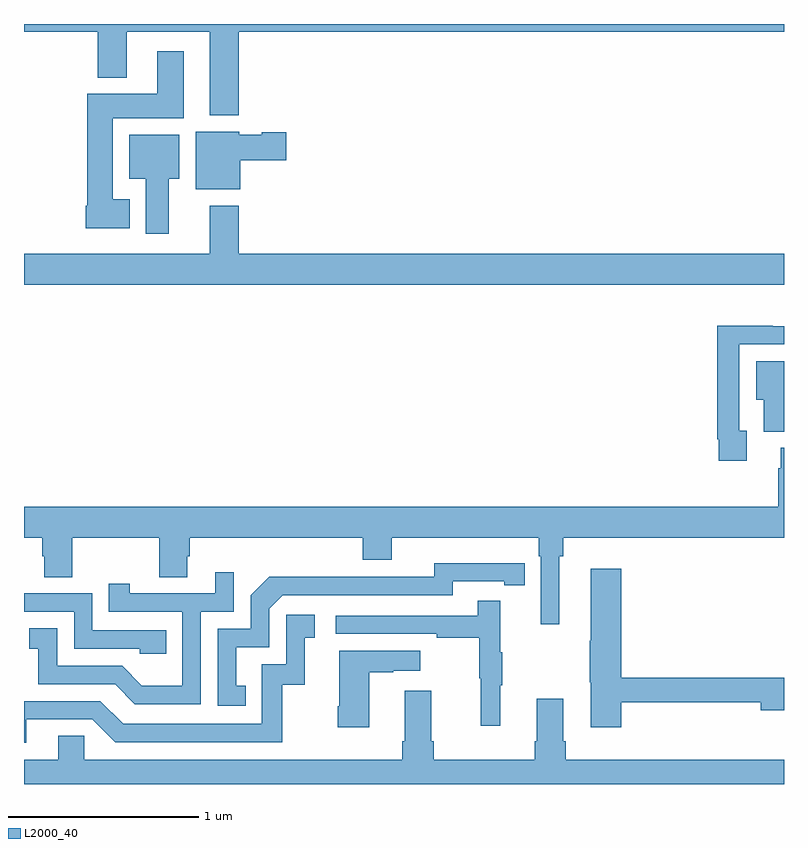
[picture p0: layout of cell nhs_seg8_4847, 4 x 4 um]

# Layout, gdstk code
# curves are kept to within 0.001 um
import gdstk
lib = gdstk.Library(unit=1e-6, precision=1e-09)
def P(c, l, *ps):  # polygons
    for p in ps: c.add(gdstk.Polygon(p, *l))
L2000_40 = (2000, 40)

nhs_seg8_4847 = lib.new_cell('nhs_seg8_4847')
P(nhs_seg8_4847, L2000_40, [(406.13,1089.86),(409,1089.86),(409,1089.9),(405,1089.9),(405,1089.86),(405.389,1089.86),(405.389,1089.617),(405.541,1089.617),(405.541,1089.86),(405.977,1089.86),(405.977,1089.419),(406.13,1089.419)],
  [(405.556,1088.977),(405.466,1088.977),(405.466,1089.404),(405.841,1089.404),(405.841,1089.757),(405.701,1089.757),(405.701,1089.532),(405.332,1089.532),(405.332,1088.943),(405.326,1088.943),(405.326,1088.825),(405.556,1088.825)],
  [(406.138,1089.182),(406.381,1089.182),(406.381,1089.329),(406.251,1089.329),(406.251,1089.316),(406.134,1089.316),(406.134,1089.334),(405.905,1089.334),(405.905,1089.029),(406.138,1089.029)],
  [(405.763,1089.086),(405.817,1089.086),(405.817,1089.316),(405.554,1089.316),(405.554,1089.086),(405.641,1089.086),(405.641,1088.796),(405.763,1088.796)],
  [(409,1088.692),(406.13,1088.692),(406.13,1088.944),(405.977,1088.944),(405.977,1088.692),(405,1088.692),(405,1088.528),(409,1088.528)],
  [(408.805,1087.758),(408.765,1087.758),(408.765,1088.214),(409,1088.214),(409,1088.31),(408.941,1088.31),(408.941,1088.312),(408.649,1088.312),(408.649,1087.714),(408.657,1087.714),(408.657,1087.602),(408.805,1087.602)],
  [(409,1088.125),(408.854,1088.125),(408.854,1087.922),(408.893,1087.922),(408.893,1087.754),(409,1087.754)],
  [(407.818,1087.1),(407.837,1087.1),(407.837,1087.196),(409,1087.196),(409,1087.669),(408.983,1087.669),(408.983,1087.562),(408.971,1087.562),(408.971,1087.36),(405,1087.36),(405,1087.196),(405.095,1087.196),(405.095,1087.098),(405.107,1087.098),(405.107,1086.988),(405.255,1086.988),(405.255,1087.196),(405.712,1087.196),(405.712,1086.988),(405.859,1086.988),(405.859,1087.098),(405.872,1087.098),(405.872,1087.196),(406.784,1087.196),(406.784,1087.079),(406.936,1087.079),(406.936,1087.196),(407.708,1087.196),(407.708,1087.1),(407.721,1087.1),(407.721,1086.741),(407.818,1086.741)],
  [(406.166,1086.417),(406.117,1086.417),(406.117,1086.621),(406.29,1086.621),(406.29,1086.822),(406.362,1086.894),(407.256,1086.894),(407.256,1086.966),(407.528,1086.966),(407.528,1086.946),(407.636,1086.946),(407.636,1087.062),(407.16,1087.063),(407.16,1086.99),(406.7,1086.99),(406.7,1086.992),(406.292,1086.992),(406.194,1086.894),(406.194,1086.717),(406.02,1086.717),(406.02,1086.312),(406.166,1086.312)],
  [(408.143,1086.33),(408.878,1086.33),(408.878,1086.287),(409,1086.287),(409,1086.458),(408.143,1086.458),(408.143,1087.033),(407.984,1087.033),(407.984,1086.653),(407.977,1086.653),(407.977,1086.435),(407.984,1086.435),(407.984,1086.198),(408.143,1086.198)],
  [(405.93,1086.807),(406.104,1086.807),(406.104,1087.015),(406.007,1087.015),(406.007,1086.903),(405.556,1086.903),(405.556,1086.955),(405.445,1086.955),(405.445,1086.807),(405.834,1086.807),(405.834,1086.418),(405.62,1086.418),(405.516,1086.522),(405.174,1086.522),(405.174,1086.721),(405.027,1086.721),(405.027,1086.611),(405.076,1086.611),(405.076,1086.426),(405.479,1086.426),(405.584,1086.321),(405.93,1086.321)],
  [(405.749,1086.708),(405.36,1086.708),(405.36,1086.903),(405,1086.903),(405,1086.807),(405.264,1086.807),(405.264,1086.612),(405.609,1086.612),(405.609,1086.585),(405.749,1086.585)],
  [(407.507,1086.419),(407.518,1086.419),(407.518,1086.593),(407.507,1086.593),(407.507,1086.865),(407.389,1086.865),(407.389,1086.786),(406.641,1086.786),(406.641,1086.69),(407.173,1086.69),(407.173,1086.67),(407.397,1086.67),(407.397,1086.456),(407.404,1086.456),(407.404,1086.207),(407.507,1086.207)],
  [(405.013,1086.24),(405.36,1086.24),(405.48,1086.12),(406.36,1086.12),(406.36,1086.423),(406.478,1086.423),(406.478,1086.669),(406.531,1086.669),(406.531,1086.79),(406.38,1086.79),(406.38,1086.531),(406.251,1086.531),(406.251,1086.216),(405.522,1086.216),(405.402,1086.336),(405,1086.336),(405,1086.117),(405.013,1086.117)],
  [(406.816,1086.487),(406.943,1086.487),(406.943,1086.497),(407.086,1086.497),(407.086,1086.601),(406.658,1086.601),(406.658,1086.31),(406.651,1086.31),(406.651,1086.198),(406.816,1086.198)],
  [(407.699,1086.349),(407.699,1086.124),(407.687,1086.124),(407.687,1086.028),(407.156,1086.028),(407.156,1086.124),(407.143,1086.124),(407.143,1086.391),(407.003,1086.391),(407.003,1086.124),(406.991,1086.124),(406.991,1086.028),(405.318,1086.028),(405.318,1086.155),(405.179,1086.155),(405.179,1086.028),(405,1086.028),(405,1085.9),(409,1085.9),(409,1086.028),(407.852,1086.028),(407.852,1086.124),(407.839,1086.124),(407.839,1086.349)])

lib.write_gds('nhs_seg8_4847.gds')
